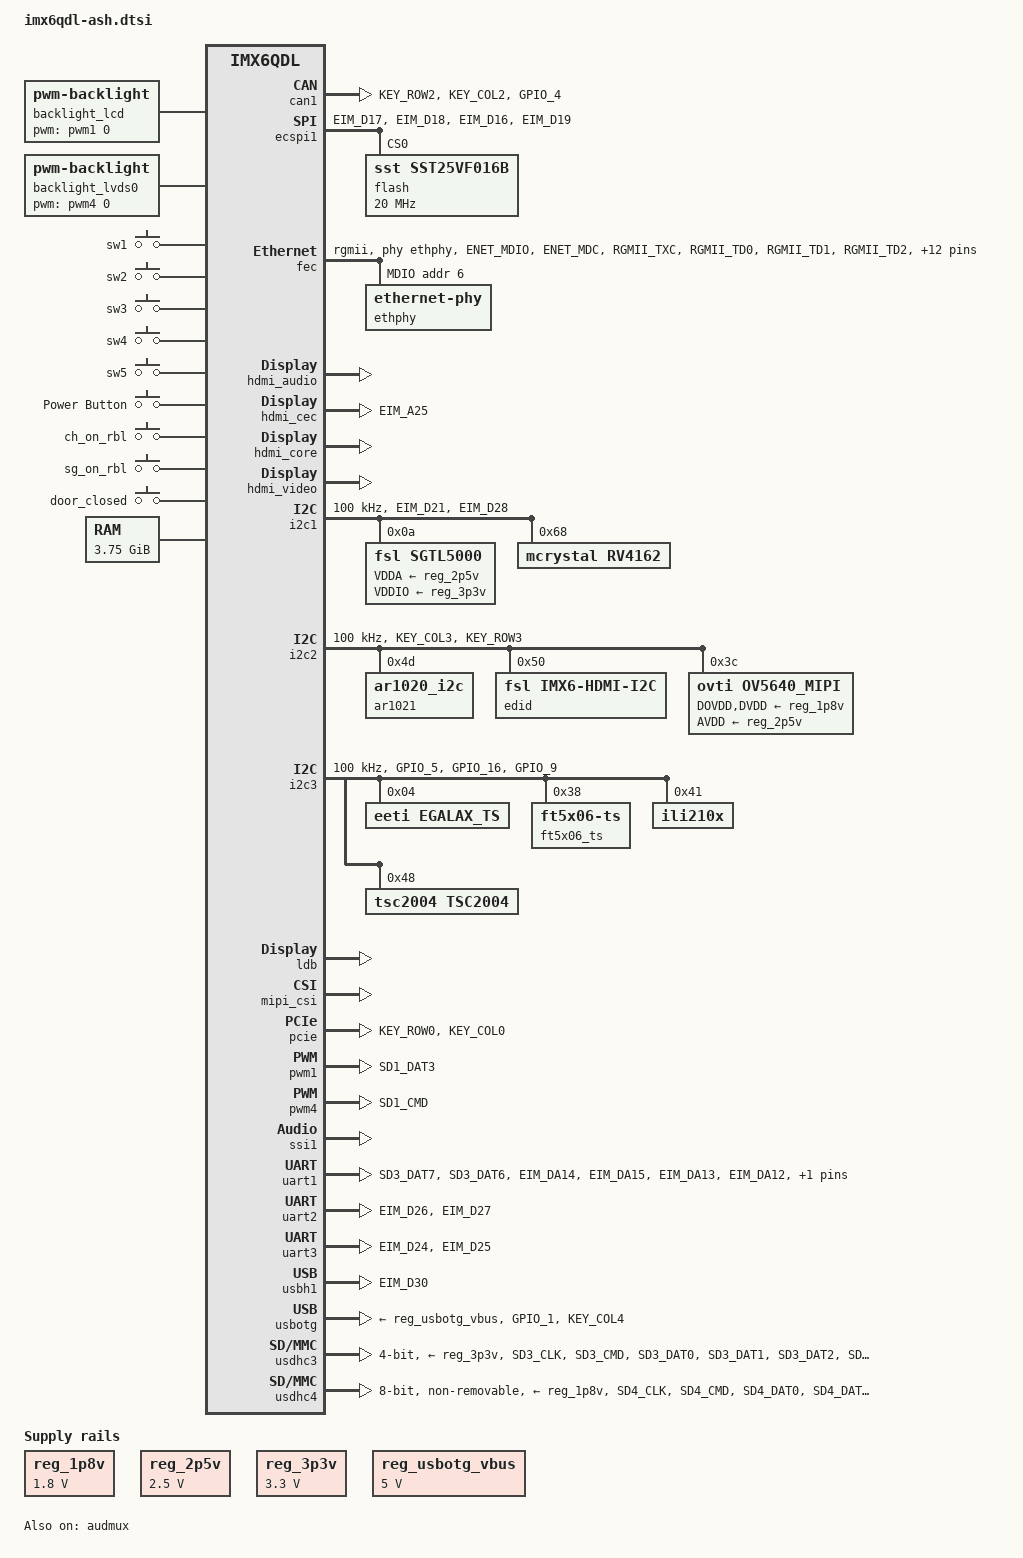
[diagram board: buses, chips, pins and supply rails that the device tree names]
/*
 * Copyright 2015 Boundary Devices, Inc.
 * Copyright 2012 Freescale Semiconductor, Inc.
 * Copyright 2011 Linaro Ltd.
 *
 * The code contained herein is licensed under the GNU General Public
 * License. You may obtain a copy of the GNU General Public License
 * Version 2 or later at the following locations:
 *
 * http://www.opensource.org/licenses/gpl-license.html
 * http://www.gnu.org/copyleft/gpl.html
 */
#include <dt-bindings/gpio/gpio.h>
#include <dt-bindings/input/input.h>

&iomuxc {
	pinctrl-names = "default";
	pinctrl-0 = <&pinctrl_hog>;

	iomuxc_imx6q_ash: iomuxc-imx6q-ashgrp {
		status = "okay";
	};
};

&iomuxc_imx6q_ash {
	pinctrl_audmux: audmuxgrp {
		fsl,pins = <
			MX6QDL_PAD_CSI0_DAT7__AUD3_RXD		0x130b0
			MX6QDL_PAD_CSI0_DAT4__AUD3_TXC		0x130b0
			MX6QDL_PAD_CSI0_DAT5__AUD3_TXD		0x110b0
			MX6QDL_PAD_CSI0_DAT6__AUD3_TXFS		0x130b0
		>;
	};

	pinctrl_ecspi1: ecspi1grp {
		fsl,pins = <
			MX6QDL_PAD_EIM_D17__ECSPI1_MISO		0x100b1
			MX6QDL_PAD_EIM_D18__ECSPI1_MOSI		0x100b1
			MX6QDL_PAD_EIM_D16__ECSPI1_SCLK		0x000b1
#define GP_ECSPI1_NOR_CS	<&gpio3 19 GPIO_ACTIVE_LOW>
			MX6QDL_PAD_EIM_D19__GPIO3_IO19		0x0b0b1
		>;
	};

	pinctrl_enet: enetgrp {
		fsl,pins = <
			MX6QDL_PAD_ENET_MDIO__ENET_MDIO		0x1b0b0
			MX6QDL_PAD_ENET_MDC__ENET_MDC		0x1b0b0
			MX6QDL_PAD_RGMII_TXC__RGMII_TXC		0x100b0
			MX6QDL_PAD_RGMII_TD0__RGMII_TD0		0x100b0
			MX6QDL_PAD_RGMII_TD1__RGMII_TD1		0x100b0
			MX6QDL_PAD_RGMII_TD2__RGMII_TD2		0x100b0
			MX6QDL_PAD_RGMII_TD3__RGMII_TD3		0x100b0
			MX6QDL_PAD_RGMII_TX_CTL__RGMII_TX_CTL	0x100b0
			MX6QDL_PAD_ENET_REF_CLK__ENET_TX_CLK	0x100b0
			MX6QDL_PAD_RGMII_RXC__RGMII_RXC		0x1b0b0
			MX6QDL_PAD_RGMII_RD0__RGMII_RD0		0x1b0b0
			MX6QDL_PAD_RGMII_RD1__RGMII_RD1		0x1b0b0
			MX6QDL_PAD_RGMII_RD2__RGMII_RD2		0x1b0b0
			MX6QDL_PAD_RGMII_RD3__RGMII_RD3		0x1b0b0
			MX6QDL_PAD_RGMII_RX_CTL__RGMII_RX_CTL	0x1b0b0
#define GP_ENET_PHY_RESET	<&gpio1 27 GPIO_ACTIVE_LOW>
			MX6QDL_PAD_ENET_RXD0__GPIO1_IO27	0x030b0
#define GPIRQ_ENET_PHY		<&gpio1 28 IRQ_TYPE_LEVEL_LOW>
			MX6QDL_PAD_ENET_TX_EN__GPIO1_IO28	0x1b0b0
#define GPIRQ_ENET		<&gpio1 6 IRQ_TYPE_LEVEL_HIGH>
			MX6QDL_PAD_GPIO_6__ENET_IRQ		0x000b1
		>;
	};

	pinctrl_flexcan1: flexcan1grp {
		fsl,pins = <
			MX6QDL_PAD_KEY_ROW2__FLEXCAN1_RX	0x1b0b0
			MX6QDL_PAD_KEY_COL2__FLEXCAN1_TX	0x1b0b0
#define GP_FLEXCAN1_STANDBY	<&gpio1 4 GPIO_ACTIVE_HIGH>
			MX6QDL_PAD_GPIO_4__GPIO1_IO04		0x0b0b0
		>;
	};

	pinctrl_gpio_keys: gpio-keysgrp {
		fsl,pins = <
#define GP_GPIOKEY_SW1		<&gpio2 18 GPIO_ACTIVE_LOW>
			MX6QDL_PAD_EIM_A20__GPIO2_IO18		0x1b0b0
#define GP_GPIOKEY_SW2		<&gpio2 19 GPIO_ACTIVE_LOW>
			MX6QDL_PAD_EIM_A19__GPIO2_IO19		0x1b0b0
#define GP_GPIOKEY_SW3		<&gpio2 20 GPIO_ACTIVE_LOW>
			MX6QDL_PAD_EIM_A18__GPIO2_IO20		0x1b0b0
#define GP_GPIOKEY_SW4		<&gpio2 21 GPIO_ACTIVE_LOW>
			MX6QDL_PAD_EIM_A17__GPIO2_IO21		0x1b0b0
#define GP_GPIOKEY_SW5		<&gpio2 22 GPIO_ACTIVE_LOW>
			MX6QDL_PAD_EIM_A16__GPIO2_IO22		0x1b0b0
#define GP_GPIOKEY_POWER	<&gpio1 2 GPIO_ACTIVE_LOW>
			MX6QDL_PAD_GPIO_2__GPIO1_IO02		0x1b0b0
#define GP_GPIOKEY_CH_ON_RBL	<&gpio5 27 GPIO_ACTIVE_LOW>
			MX6QDL_PAD_CSI0_DAT9__GPIO5_IO27	0x1b0b0
#define GP_GPIOKEY_SG_ON_RBL	<&gpio5 28 GPIO_ACTIVE_LOW>
			MX6QDL_PAD_CSI0_DAT10__GPIO5_IO28	0x1b0b0
#define GP_GPIOKEY_DOOR_CLOSED	<&gpio5 29 GPIO_ACTIVE_LOW>
			MX6QDL_PAD_CSI0_DAT11__GPIO5_IO29	0x1b0b0
		>;
	};

	pinctrl_hdmi_cec: hdmi_cecgrp {
		fsl,pins = <
			MX6QDL_PAD_EIM_A25__HDMI_TX_CEC_LINE	0x1f8b0
		>;
	};

	pinctrl_hog: hoggrp {
		fsl,pins = <
#define GP_HOG_TP71		<&gpio1 30 GPIO_ACTIVE_LOW>
			MX6QDL_PAD_ENET_TXD0__GPIO1_IO30	0x1b0b0
#define GP_HOG_TP74		<&gpio2 7 GPIO_ACTIVE_LOW>
			MX6QDL_PAD_NANDF_D7__GPIO2_IO07		0x1b0b0
#define GP_HOG_TP84		<&gpio2 30 GPIO_ACTIVE_LOW>
			MX6QDL_PAD_EIM_EB2__GPIO2_IO30		0x1b0b0
#define GP_HOG_TP85		<&gpio2 31 GPIO_ACTIVE_LOW>
			MX6QDL_PAD_EIM_EB3__GPIO2_IO31		0x1b0b0
#define GP_HOG_TP86		<&gpio7 13 GPIO_ACTIVE_LOW>
			MX6QDL_PAD_GPIO_18__GPIO7_IO13		0x1b0b0
#define GP_HOG_TP_R218		<&gpio1 3 GPIO_ACTIVE_LOW>
			MX6QDL_PAD_GPIO_3__GPIO1_IO03		0x1b0b0
#define GP_8BIT_LVDS		<&gpio4 15 GPIO_ACTIVE_LOW>
			MX6QDL_PAD_KEY_ROW4__GPIO4_IO15		0x030b0
#define GP_POWER_OFF		<&gpio1 3 GPIO_ACTIVE_HIGH>
			MX6QDL_PAD_GPIO_3__GPIO1_IO03		0x030b0
		>;
	};

	pinctrl_i2c1: i2c1grp {
		fsl,pins = <
			MX6QDL_PAD_EIM_D21__I2C1_SCL		0x4001b8b1
			MX6QDL_PAD_EIM_D28__I2C1_SDA		0x4001b8b1
		>;
	};

	pinctrl_i2c1_rv4162: i2c1-rv4162grp {
		fsl,pins = <
#define GPIRQ_RTC_RV4162	<&gpio7 12 IRQ_TYPE_LEVEL_LOW>
			MX6QDL_PAD_GPIO_17__GPIO7_IO12		0x1b0b0
		>;
	};

	pinctrl_i2c1_sgtl5000: i2c1-sgtl5000grp {
		fsl,pins = <
			MX6QDL_PAD_GPIO_0__CCM_CLKO1		0x000b0		/* sys_mclk */
#define GP_TDA7491P_GAIN0	<&gpio5 4 GPIO_ACTIVE_HIGH>
			MX6QDL_PAD_EIM_A24__GPIO5_IO04		0x030b0
#define GP_TDA7491P_GAIN1	<&gpio6 6 GPIO_ACTIVE_HIGH>
			MX6QDL_PAD_EIM_A23__GPIO6_IO06		0x030b0
#define GP_TDA7491P_STBY	<&gpio6 31 GPIO_ACTIVE_LOW>
			MX6QDL_PAD_EIM_BCLK__GPIO6_IO31		0x030b0
#define GP_TDA7491P_MUTE	<&gpio5 0 GPIO_ACTIVE_LOW>
			MX6QDL_PAD_EIM_WAIT__GPIO5_IO00		0x030b0
#define GPIRQ_MIC_DET		<&gpio7 8 IRQ_TYPE_LEVEL_LOW>
			MX6QDL_PAD_SD3_RST__GPIO7_IO08		0x1b0b0
		>;
	};

	pinctrl_i2c2: i2c2grp {
		fsl,pins = <
			MX6QDL_PAD_KEY_COL3__I2C2_SCL		0x4001b8b1
			MX6QDL_PAD_KEY_ROW3__I2C2_SDA		0x4001b8b1
		>;
	};

	pinctrl_i2c2_ar1021: i2c2-ar1021grp {
		fsl,pins = <
#define GPIRQ_AR1021		<&gpio1 7 IRQ_TYPE_LEVEL_HIGH>
#define GP_AR1021		<&gpio1 7 GPIO_ACTIVE_HIGH>
			MX6QDL_PAD_GPIO_7__GPIO1_IO07		0x130b0
#define GP_AR1021_5WIRE		<&gpio1 8 GPIO_ACTIVE_HIGH>
			MX6QDL_PAD_GPIO_8__GPIO1_IO08		0x1b0b0
		>;
	};

	pinctrl_i2c2_ov5640_mipi: i2c2-ov5640-mipigrp {
		fsl,pins = <
			MX6QDL_PAD_NANDF_CS2__CCM_CLKO2		0x000b0
#define GP_OV5640_MIPI_POWER_DOWN <&gpio6 7 GPIO_ACTIVE_HIGH>
			MX6QDL_PAD_NANDF_CLE__GPIO6_IO07	0x0b0b0
#define GP_OV5640_MIPI_RESET	<&gpio6 8 GPIO_ACTIVE_LOW>
			MX6QDL_PAD_NANDF_ALE__GPIO6_IO08	0x030b0
		>;
	};

	pinctrl_i2c3: i2c3grp {
		fsl,pins = <
			MX6QDL_PAD_GPIO_5__I2C3_SCL		0x4001b8b1
			MX6QDL_PAD_GPIO_16__I2C3_SDA		0x4001b8b1
#define GPIRQ_I2C3_J6		<&gpio1 9 IRQ_TYPE_EDGE_FALLING>
#define GP_I2C3_J6		<&gpio1 9 GPIO_ACTIVE_LOW>
			MX6QDL_PAD_GPIO_9__GPIO1_IO09		0x1b0b0		/* I2C3 J6 interrupt */
		>;
	};

	pinctrl_i2c3_tsc2004: i2c3-tsc2004grp {
		fsl,pins = <
#define GPIRQ_TSC2004		<&gpio4 20 IRQ_TYPE_EDGE_FALLING>
#define GP_TSC2004		<&gpio4 20 GPIO_ACTIVE_LOW>
			MX6QDL_PAD_DI0_PIN4__GPIO4_IO20		0x1b0b0		/* tsc2004 interrupt */
		>;
	};

	pinctrl_lcd: lcdgrp {
		fsl,pins = <
			MX6QDL_PAD_DI0_DISP_CLK__IPU1_DI0_DISP_CLK	0x10
			MX6QDL_PAD_DI0_PIN15__IPU1_DI0_PIN15		0x10
			MX6QDL_PAD_DI0_PIN2__IPU1_DI0_PIN02		0x10
			MX6QDL_PAD_DI0_PIN3__IPU1_DI0_PIN03		0x10
			MX6QDL_PAD_DISP0_DAT0__IPU1_DISP0_DATA00	0x10
			MX6QDL_PAD_DISP0_DAT1__IPU1_DISP0_DATA01	0x10
			MX6QDL_PAD_DISP0_DAT2__IPU1_DISP0_DATA02	0x10
			MX6QDL_PAD_DISP0_DAT3__IPU1_DISP0_DATA03	0x10
			MX6QDL_PAD_DISP0_DAT4__IPU1_DISP0_DATA04	0x10
			MX6QDL_PAD_DISP0_DAT5__IPU1_DISP0_DATA05	0x10
			MX6QDL_PAD_DISP0_DAT6__IPU1_DISP0_DATA06	0x10
			MX6QDL_PAD_DISP0_DAT7__IPU1_DISP0_DATA07	0x10
			MX6QDL_PAD_DISP0_DAT8__IPU1_DISP0_DATA08	0x10
			MX6QDL_PAD_DISP0_DAT9__IPU1_DISP0_DATA09	0x10
			MX6QDL_PAD_DISP0_DAT10__IPU1_DISP0_DATA10	0x10
			MX6QDL_PAD_DISP0_DAT11__IPU1_DISP0_DATA11	0x10
			MX6QDL_PAD_DISP0_DAT12__IPU1_DISP0_DATA12	0x10
			MX6QDL_PAD_DISP0_DAT13__IPU1_DISP0_DATA13	0x10
			MX6QDL_PAD_DISP0_DAT14__IPU1_DISP0_DATA14	0x10
			MX6QDL_PAD_DISP0_DAT15__IPU1_DISP0_DATA15	0x10
			MX6QDL_PAD_DISP0_DAT16__IPU1_DISP0_DATA16	0x10
			MX6QDL_PAD_DISP0_DAT17__IPU1_DISP0_DATA17	0x10
			MX6QDL_PAD_DISP0_DAT18__IPU1_DISP0_DATA18	0x10
			MX6QDL_PAD_DISP0_DAT19__IPU1_DISP0_DATA19	0x10
			MX6QDL_PAD_DISP0_DAT20__IPU1_DISP0_DATA20	0x10
			MX6QDL_PAD_DISP0_DAT21__IPU1_DISP0_DATA21	0x10
			MX6QDL_PAD_DISP0_DAT22__IPU1_DISP0_DATA22	0x10
			MX6QDL_PAD_DISP0_DAT23__IPU1_DISP0_DATA23	0x10
		>;
	};

	pinctrl_pcie: pciegrp {
		fsl,pins = <
#define GP_PCIE_RESET	<&gpio4 7 GPIO_ACTIVE_LOW>
			MX6QDL_PAD_KEY_ROW0__GPIO4_IO07		0x030b0
#define GP_PCIE_DISABLE	<&gpio4 6 GPIO_ACTIVE_LOW>
			MX6QDL_PAD_KEY_COL0__GPIO4_IO06		0x030b0
		>;
	};

	pinctrl_pwm1: pwm1grp {
		fsl,pins = <
			MX6QDL_PAD_SD1_DAT3__PWM1_OUT		0x030b1
		>;
	};

	pinctrl_pwm4: pwm4grp {
		fsl,pins = <
			MX6QDL_PAD_SD1_CMD__PWM4_OUT		0x0b0b1
		>;
	};

	pinctrl_reg_usbotg_vbus: reg-usbotg-vbusgrp {
		fsl,pins = <
#define GP_REG_USBOTG	<&gpio3 22 GPIO_ACTIVE_HIGH>
			MX6QDL_PAD_EIM_D22__GPIO3_IO22		0x030b0
		>;
	};

	pinctrl_uart1: uart1grp {
		fsl,pins = <
			MX6QDL_PAD_SD3_DAT7__UART1_TX_DATA	0x0b0b1
			MX6QDL_PAD_SD3_DAT6__UART1_RX_DATA	0x1b0b1
#define GP_UART1_RX_EN			<&gpio3 14 GPIO_ACTIVE_HIGH>
			MX6QDL_PAD_EIM_DA14__GPIO3_IO14		0x030b0		/* RS485 RX Enable: pull down */
#define GP_UART1_TX_EN			<&gpio3 15 GPIO_ACTIVE_HIGH>
			MX6QDL_PAD_EIM_DA15__GPIO3_IO15		0x030b0		/* RS485 DEN: pull down */
#define GP_UART1_RS485_EN		<&gpio3 13 GPIO_ACTIVE_HIGH>
			MX6QDL_PAD_EIM_DA13__GPIO3_IO13		0x030b0		/* RS485/!RS232 Select: pull down (rs232) */
#define GP_UART1_AON			<&gpio3 12 GPIO_ACTIVE_HIGH>
			MX6QDL_PAD_EIM_DA12__GPIO3_IO12		0x030b0		/* ON: pull down */
#define GP_UART1_RS485_TERM		<&gpio4 5 GPIO_ACTIVE_HIGH>
			MX6QDL_PAD_GPIO_19__GPIO4_IO05		0x030b0		/* pull down */
		>;
	};

	pinctrl_uart2: uart2grp {
		fsl,pins = <
			MX6QDL_PAD_EIM_D26__UART2_TX_DATA	0x1b0b1
			MX6QDL_PAD_EIM_D27__UART2_RX_DATA	0x1b0b1
		>;
	};

	pinctrl_uart3: uart3grp {
		fsl,pins = <
			MX6QDL_PAD_EIM_D24__UART3_TX_DATA	0x1b0b1
			MX6QDL_PAD_EIM_D25__UART3_RX_DATA	0x1b0b1
		>;
	};

	pinctrl_usbh1: usbh1grp {
		fsl,pins = <
			MX6QDL_PAD_EIM_D30__USB_H1_OC		0x030b0
		>;
	};

	pinctrl_usbotg: usbotggrp {
		fsl,pins = <
			MX6QDL_PAD_GPIO_1__USB_OTG_ID		0x17059
			MX6QDL_PAD_KEY_COL4__USB_OTG_OC		0x1b0b0
		>;
	};

	pinctrl_usdhc3: usdhc3grp {
		fsl,pins = <
			MX6QDL_PAD_SD3_CLK__SD3_CLK		0x10059
			MX6QDL_PAD_SD3_CMD__SD3_CMD		0x17059
			MX6QDL_PAD_SD3_DAT0__SD3_DATA0		0x17059
			MX6QDL_PAD_SD3_DAT1__SD3_DATA1		0x17059
			MX6QDL_PAD_SD3_DAT2__SD3_DATA2		0x17059
			MX6QDL_PAD_SD3_DAT3__SD3_DATA3		0x17059
#define GP_USDHC3_CD	<&gpio7 0 GPIO_ACTIVE_LOW>
			MX6QDL_PAD_SD3_DAT5__GPIO7_IO00		0x1b0b0
		>;
	};

	pinctrl_usdhc4: usdhc4grp {
		fsl,pins = <
			MX6QDL_PAD_SD4_CLK__SD4_CLK		0x10059
			MX6QDL_PAD_SD4_CMD__SD4_CMD		0x17059
			MX6QDL_PAD_SD4_DAT0__SD4_DATA0		0x17059
			MX6QDL_PAD_SD4_DAT1__SD4_DATA1		0x17059
			MX6QDL_PAD_SD4_DAT2__SD4_DATA2		0x17059
			MX6QDL_PAD_SD4_DAT3__SD4_DATA3		0x17059
			MX6QDL_PAD_SD4_DAT4__SD4_DATA4		0x17059
			MX6QDL_PAD_SD4_DAT5__SD4_DATA5		0x17059
			MX6QDL_PAD_SD4_DAT6__SD4_DATA6		0x17059
			MX6QDL_PAD_SD4_DAT7__SD4_DATA7		0x17059
#define GP_EMMC_RESET	<&gpio2 6 GPIO_ACTIVE_LOW>
			MX6QDL_PAD_NANDF_D6__GPIO2_IO06		0x1b0b0
		>;
	};
};

/ {
	aliases {
		fb_hdmi = &fb_hdmi;
		fb_lcd = &fb_lcd;
		fb_lvds = &fb_lvds;
		lcd = &lcd;
		ldb = &ldb;
		mmc0 = &usdhc3;
		mmc1 = &usdhc4;
		mxcfb0 = &fb_hdmi;
		mxcfb1 = &fb_lvds;
		mxcfb2 = &fb_lcd;
		t_lvds = &t_lvds;
	};

	backlight_lcd: backlight_lcd {
		brightness-levels = <0 1 2 3 4 5 6 7 8 9 10>;
		compatible = "pwm-backlight";
		default-brightness-level = <8>;
		display = <&fb_lcd>;
		pwms = <&pwm1 0 5000000>;
	};

	backlight_lvds0 {
		brightness-levels = <10 9 8 7 6 5 4 3 2 1 0>;
		compatible = "pwm-backlight";
		default-brightness-level = <10>;
		display = <&fb_lvds>;
		pwms = <&pwm4 0 200000>;
	};

	fb_hdmi: fb@0 {
		compatible = "fsl,mxc_sdc_fb";
		disp_dev = "hdmi";
		interface_pix_fmt = "RGB24";
		mode_str ="1280x720M@60";
		default_bpp = <32>;
		int_clk = <0>;
		late_init = <0>;
		status = "okay";
	};

	fb_lcd: fb@1 {
		compatible = "fsl,mxc_sdc_fb";
		disp_dev = "lcd";
		interface_pix_fmt = "RGB666";
		default_bpp = <16>;
		int_clk = <0>;
		late_init = <0>;
		status = "disabled";
	};

	fb_lvds: fb@2 {
		compatible = "fsl,mxc_sdc_fb";
		disp_dev = "ldb";
		interface_pix_fmt = "RGB24";
		default_bpp = <32>;
		int_clk = <0>;
		late_init = <0>;
		status = "disabled";
	};

	gpio-keys {
		compatible = "gpio-keys";
		pinctrl-names = "default";
		pinctrl-0 = <&pinctrl_gpio_keys>;

		sw1 {
			label = "sw1";
			gpios = GP_GPIOKEY_SW1;
			linux,code = <KEY_FN_F1>;
		};

		sw2 {
			label = "sw2";
			gpios = GP_GPIOKEY_SW2;
			linux,code = <KEY_FN_F2>;
		};

		sw3 {
			label = "sw3";
			gpios = GP_GPIOKEY_SW3;
			linux,code = <KEY_FN_F3>;
		};

		sw4 {
			label = "sw4";
			gpios = GP_GPIOKEY_SW4;
			linux,code = <KEY_FN_F4>;
		};

		sw5 {
			label = "sw5";
			gpios = GP_GPIOKEY_SW5;
			linux,code = <KEY_FN_F5>;
		};

		power {
			label = "Power Button";
			gpios = GP_GPIOKEY_POWER;
			linux,code = <KEY_POWER>;
			gpio-key,wakeup;
		};

		ch_on_rbl {
			label = "ch_on_rbl";
			gpios = GP_GPIOKEY_CH_ON_RBL;
			linux,code = <KEY_FN_F10>;
		};

		sg_on_rbl {
			label = "sg_on_rbl";
			gpios = GP_GPIOKEY_SG_ON_RBL;
			linux,code = <KEY_FN_F11>;
		};

		door_closed {
			label = "door_closed";
			gpios = GP_GPIOKEY_DOOR_CLOSED;
			linux,code = <KEY_FN_F12>;
		};
	};

	lcd: lcd@0 {
		compatible = "fsl,lcd";
		ipu_id = <0>;
		disp_id = <0>;
		default_ifmt = "RGB666";
		pinctrl-names = "default";
		pinctrl-0 = <&pinctrl_lcd>;
		status = "okay";
	};

	memory {
		reg = <0x10000000 0xeffffc00>;
	};

	poweroff: poweroff {
		compatible = "gpio-poweroff";
		gpios = GP_POWER_OFF;
	};

	regulators {
		compatible = "simple-bus";
		#address-cells = <1>;
		#size-cells = <0>;

		reg_1p8v: regulator@0 {
			compatible = "regulator-fixed";
			reg = <0>;
			regulator-name = "1P8V";
			regulator-min-microvolt = <1800000>;
			regulator-max-microvolt = <1800000>;
			regulator-always-on;
		};

		reg_2p5v: regulator@1 {
			compatible = "regulator-fixed";
			reg = <1>;
			regulator-name = "2P5V";
			regulator-min-microvolt = <2500000>;
			regulator-max-microvolt = <2500000>;
			regulator-always-on;
		};

		reg_3p3v: regulator@2 {
			compatible = "regulator-fixed";
			reg = <2>;
			regulator-name = "3P3V";
			regulator-min-microvolt = <3300000>;
			regulator-max-microvolt = <3300000>;
			regulator-always-on;
		};

		reg_usbotg_vbus: regulator@3 {
			compatible = "regulator-fixed";
			reg = <3>;
			pinctrl-names = "default";
			pinctrl-0 = <&pinctrl_reg_usbotg_vbus>;
			regulator-name = "usb_otg_vbus";
			regulator-min-microvolt = <5000000>;
			regulator-max-microvolt = <5000000>;
			gpio = GP_REG_USBOTG;
			enable-active-high;
		};
	};

	sound {
		compatible = "fsl,imx6q-ash-sgtl5000",
			     "fsl,imx-audio-sgtl5000";
		model = "imx6q-ash-sgtl5000";
		ssi-controller = <&ssi1>;
		audio-codec = <&sgtl5000>;
		audio-routing =
			"MIC_IN", "Mic Jack",
			"Mic Jack", "Mic Bias",
			"Headphone Jack", "HP_OUT";
		mux-int-port = <1>;
		mux-ext-port = <3>;
		mute-gpios = GP_TDA7491P_MUTE;
		amp-standby-gpios = GP_TDA7491P_STBY;
		amp-gain-gpios = GP_TDA7491P_GAIN1, GP_TDA7491P_GAIN0;
	};

	sound-hdmi {
		compatible = "fsl,imx6q-audio-hdmi",
			     "fsl,imx-audio-hdmi";
		model = "imx-audio-hdmi";
		hdmi-controller = <&hdmi_audio>;
	};

	v4l2_cap_0 {
		compatible = "fsl,imx6q-v4l2-capture";
		ipu_id = <0>;
		csi_id = <0>;
		mipi_camera = <1>;
		mclk_source = <0>;
		status = "okay";
	};

	v4l2_out {
		compatible = "fsl,mxc_v4l2_output";
		status = "okay";
	};
};

&audmux {
	pinctrl-names = "default";
	pinctrl-0 = <&pinctrl_audmux>;
	status = "okay";
};

&can1 {
	pinctrl-names = "default";
	pinctrl-0 = <&pinctrl_flexcan1>;
	trx-stby-gpio = GP_FLEXCAN1_STANDBY;
	status = "okay";
};

&ecspi1 {
	pinctrl-names = "default";
	pinctrl-0 = <&pinctrl_ecspi1>;
	fsl,spi-num-chipselects = <1>;
	cs-gpios = GP_ECSPI1_NOR_CS;
	status = "okay";

	flash: m25p80@0 {
		compatible = "sst,sst25vf016b";
		spi-max-frequency = <20000000>;
		reg = <0>;
		#address-cells = <1>;
		#size-cells = <1>;
		mtd@00000000 {
			label = "U-Boot";
			reg = <0x0 0xC0000>;
		};

		mtd@000C0000 {
			label = "env";
			reg = <0xC0000 0x2000>;
		};
		mtd@000C2000 {
			label = "splash";
			reg = <0xC2000 0x13e000>;
		};
	};
};

&fec {
	interrupts-extended = GPIRQ_ENET,
			      <&intc 0 119 IRQ_TYPE_LEVEL_HIGH>;
	phy-handle = <&ethphy>;
	phy-mode = "rgmii";
#if 0
	phy-reset-gpios = GP_ENET_PHY_RESET;
#endif
	pinctrl-names = "default";
	pinctrl-0 = <&pinctrl_enet>;
	status = "okay";

	mdio {
		#address-cells = <0>;
		#size-cells = <1>;

		ethphy: ethernet-phy@6 {
			reg = <6>;
			interrupts-extended = GPIRQ_ENET_PHY;
		};
	};
};

&hdmi_audio {
	status = "okay";
};

&hdmi_cec {
	pinctrl-names = "default";
	pinctrl-0 = <&pinctrl_hdmi_cec>;
	status = "okay";
};

&hdmi_core {
	ipu_id = <0>;
	disp_id = <0>;
	status = "okay";
};

&hdmi_video {
	fsl,phy_reg_vlev = <0x0294>;
	fsl,phy_reg_cksymtx = <0x800d>;
	status = "okay";
};

&i2c1 {
	clock-frequency = <100000>;
	pinctrl-names = "default";
	pinctrl-0 = <&pinctrl_i2c1>;
	status = "okay";

	sgtl5000: sgtl5000@0a {
		compatible = "fsl,sgtl5000";
		pinctrl-names = "default";
		pinctrl-0 = <&pinctrl_i2c1_sgtl5000>;
		reg = <0x0a>;
		clocks = <&clks IMX6QDL_CLK_CKO>;
		VDDA-supply = <&reg_2p5v>;
		VDDIO-supply = <&reg_3p3v>;
	};
	rv4162@68 {
		compatible = "mcrystal,rv4162";
		pinctrl-names = "default";
		pinctrl-0 = <&pinctrl_i2c1_rv4162>;
		reg = <0x68>;
		interrupts-extended = GPIRQ_RTC_RV4162;
	};
};

&i2c2 {
	clock-frequency = <100000>;
	pinctrl-names = "default";
	pinctrl-0 = <&pinctrl_i2c2>;
	status = "okay";

	ar1021@4d {
		compatible = "ar1020_i2c";
		pinctrl-names = "default";
		pinctrl-0 = <&pinctrl_i2c2_ar1021>;
		reg = <0x4d>;
		interrupts-extended = GPIRQ_AR1021;
		wakeup-gpios = GP_AR1021;
	};

	edid@50 {
		compatible = "fsl,imx6-hdmi-i2c";
		reg = <0x50>;
	};

	ov5640_mipi: ov5640_mipi@3c {
		compatible = "ovti,ov5640_mipi";
		reg = <0x3c>;
		pinctrl-names = "default";
		pinctrl-0 = <&pinctrl_i2c2_ov5640_mipi>;
		clocks = <&clks IMX6QDL_CLK_CKO2>;
		clock-names = "csi_mclk";
		DOVDD-supply = <&reg_1p8v>;
		AVDD-supply = <&reg_2p5v>;
		DVDD-supply = <&reg_1p8v>;
		pwn-gpios = GP_OV5640_MIPI_POWER_DOWN;
		rst-gpios = GP_OV5640_MIPI_RESET;
		ipu_id = <0>;
		csi_id = <0>;
		mclk = <24000000>;
		mclk_source = <0>;
		assigned-clocks        = <&clks IMX6QDL_CLK_CKO2_SEL>;
		assigned-clock-parents = <&clks IMX6QDL_CLK_OSC>;
	};
};

&i2c3 {
	clock-frequency = <100000>;
	pinctrl-names = "default";
	pinctrl-0 = <&pinctrl_i2c3>;
	status = "okay";

	egalax_ts@04 {
		compatible = "eeti,egalax_ts";
		reg = <0x04>;
		interrupts-extended = GPIRQ_I2C3_J6;
		wakeup-gpios = GP_I2C3_J6;
	};

	ft5x06_ts@38 {
		compatible = "ft5x06-ts";
		reg = <0x38>;
		interrupts-extended = GPIRQ_I2C3_J6;
		wakeup-gpios = GP_I2C3_J6;
	};

	ili210x@41 {
		compatible = "ili210x";
		reg = <0x41>;
		interrupts-extended = GPIRQ_I2C3_J6;
		wakeup-gpios = GP_I2C3_J6;
	};

	tsc2004: tsc2004@48 {
		compatible = "tsc2004,tsc2004";
		reg = <0x48>;
		pinctrl-names = "default";
		pinctrl-0 = <&pinctrl_i2c3_tsc2004>;
		interrupts-extended = GPIRQ_TSC2004;
		wakeup-gpios = GP_TSC2004;
	};
};

&ldb {
	status = "okay";

	lvds-channel@0 {
		crtc = "ipu1-di1";
		fsl,data-mapping = "spwg";
		fsl,data-width = <24>;
		primary;
		status = "okay";

		display-timings {
			t_lvds: t_lvds_default {
				clock-frequency = <37714285>;
				hactive = <800>;
				vactive = <480>;
				hback-porch = <220>;
				hfront-porch = <18>;
				vback-porch = <21>;
				vfront-porch = <14>;
				hsync-len = <18>;
				vsync-len = <10>;
			};
		};
	};
};

&mipi_csi {
	lanes = <2>;
	status = "okay";
};

&pcie {
	pinctrl-names = "default";
	pinctrl-0 = <&pinctrl_pcie>;
	reset-gpio = GP_PCIE_RESET;
	status = "okay";
};

&pwm1 {
	pinctrl-names = "default";
	pinctrl-0 = <&pinctrl_pwm1>;
	status = "okay";
};

&pwm4 {
	pinctrl-names = "default";
	pinctrl-0 = <&pinctrl_pwm4>;
	status = "okay";
};

&ssi1 {
	fsl,mode = "i2s-slave";
	status = "okay";
};

&uart1 {
	pinctrl-names = "default";
	pinctrl-0 = <&pinctrl_uart1>;
	control-gpios = GP_UART1_RX_EN, GP_UART1_TX_EN, GP_UART1_RS485_EN, GP_UART1_AON, GP_UART1_RS485_TERM;
#define M_RX_EN		1
#define M_TX_EN		2
#define M_RS485		4
#define M_AON		8
#define M_TERM		0x10
	off_levels = <0>;
	rxact_mask = <0>;
	rxact_levels = <0>;
	rs232_levels = <M_RX_EN>;
	rs232_txen_mask = <0>;
	rs232_txen_levels = <0>;
	rs485_levels = <0x0d>;	/* 0x1d to enable termination */
	rs485_txen_mask = <0x3>;
	rs485_txen_levels = <M_TX_EN>;
	uart-has-rs485-half-duplex;
	rs485-mode = <0>;	/* 1 to enable */
	status = "okay";
};


&uart2 {
	pinctrl-names = "default";
	pinctrl-0 = <&pinctrl_uart2>;
	status = "okay";
};

&uart3 {
	pinctrl-names = "default";
	pinctrl-0 = <&pinctrl_uart3>;
	status = "okay";
};

&usbh1 {
	pinctrl-names = "default";
	pinctrl-0 = <&pinctrl_usbh1>;
	disable-over-current;
	status = "okay";
};

&usbotg {
	vbus-supply = <&reg_usbotg_vbus>;
	pinctrl-names = "default";
	pinctrl-0 = <&pinctrl_usbotg>;
	disable-over-current;
	status = "okay";
};

&usdhc3 {
	pinctrl-names = "default";
	pinctrl-0 = <&pinctrl_usdhc3>;
	bus-width = <4>;
	cd-gpios = GP_USDHC3_CD;
	vmmc-supply = <&reg_3p3v>;
	status = "okay";
};

&usdhc4 {
	pinctrl-names = "default";
	pinctrl-0 = <&pinctrl_usdhc4>;
	bus-width = <8>;
	non-removable;
	vqmmc-1-8-v;
	vmmc-supply = <&reg_1p8v>;
	keep-power-in-suspend;
	status = "okay";
};
